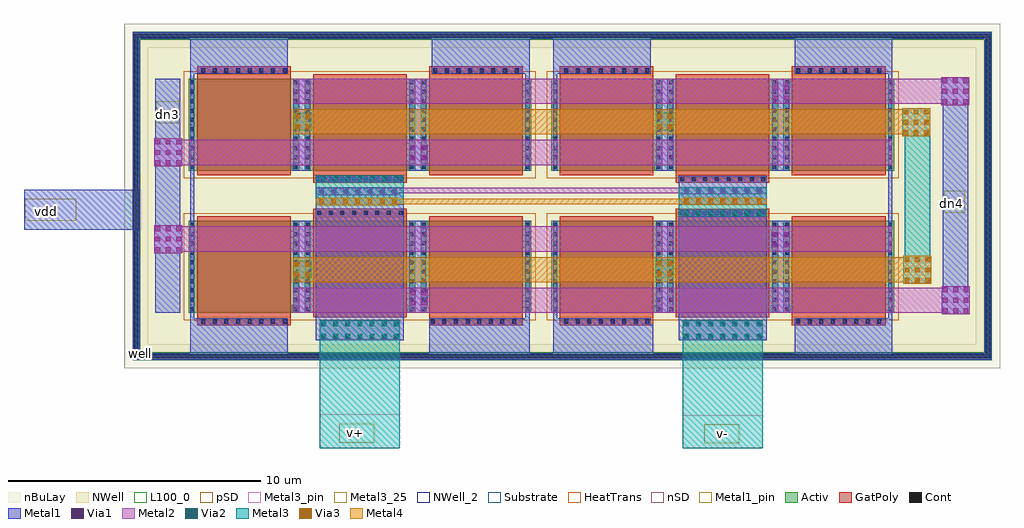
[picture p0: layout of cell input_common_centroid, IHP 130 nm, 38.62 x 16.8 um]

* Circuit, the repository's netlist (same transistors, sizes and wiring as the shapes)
* Extracted by KLayout with SG13G2 LVS runset on : 07/01/2025 13:14

.SUBCKT input_common_centroid v\x2d vdd v+ dn4 dn3
M$1 vdd vdd \$7 \$3 sg13_lv_pmos L=3.7u W=14.56u AS=4.9504p AD=4.9504p
+ PS=31.84u PD=31.84u
M$2 \$7 v+ dn4 \$3 sg13_lv_pmos L=3.7u W=7.28u AS=2.4752p AD=2.4752p PS=15.92u
+ PD=15.92u
M$3 dn4 vdd vdd \$3 sg13_lv_pmos L=3.7u W=7.28u AS=2.4752p AD=2.4752p PS=15.92u
+ PD=15.92u
M$5 \$7 v\x2d dn3 \$3 sg13_lv_pmos L=3.7u W=7.28u AS=2.4752p AD=2.4752p
+ PS=15.92u PD=15.92u
M$6 dn3 vdd vdd \$3 sg13_lv_pmos L=3.7u W=7.28u AS=2.4752p AD=2.4752p PS=15.92u
+ PD=15.92u
R$13 \$3 vdd ntap1 A=169.1692p P=241.12u
.ENDS input_common_centroid

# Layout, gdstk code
from math import pi, radians
import gdstk
lib = gdstk.Library(unit=1e-6, precision=1e-09)
def R(c, l, rs):  # rectangles x0, y0, x1, y1
    for r in rs: c.add(gdstk.rectangle(r[:2], r[2:], *l))
def A(c, l, x, y, w, h, nx, ny, dx, dy):  # array of equal rectangles
    R(c, l, [(x+i*dx, y+j*dy, x+i*dx+w, y+j*dy+h) for i in range(nx) for j in range(ny)])
def P(c, l, *ps):  # polygons
    for p in ps: c.add(gdstk.Polygon(p, *l))
Activ = (1, 0)
GatPoly = (5, 0)
Cont = (6, 0)
nSD = (7, 0)
Metal1 = (8, 0)
Metal1_pin = (8, 2)
Metal2 = (10, 0)
pSD = (14, 0)
Via1 = (19, 0)
Via2 = (29, 0)
Metal3 = (30, 0)
Metal3_pin = (30, 2)
Metal3_25 = (30, 25)
NWell = (31, 0)
NWell_2 = (31, 2)
nBuLay = (32, 0)
Substrate = (40, 0)
Via3 = (49, 0)
Metal4 = (50, 0)
HeatTrans = (51, 0)
L100_0 = (100, 0)

pmos = lib.new_cell('pmos')
R(pmos, Activ, [(0,0,0.3,0.3), (0,0,4.38,3.64), (4.08,0,4.38,0.3)])
R(pmos, GatPoly, [(0.34,-0.18,4.04,3.82), (0.34,-0.18,4.04,3.82)])
A(pmos, Cont, 0.07, 0.07, 0.16, 0.16, 1, 5, 0, 0.37)
A(pmos, Cont, 4.15, 0.07, 0.16, 0.16, 1, 5, 0, 0.37)
A(pmos, Cont, 0.07, 1.925, 0.16, 0.16, 1, 4, 0, 0.37)
A(pmos, Cont, 4.15, 1.925, 0.16, 0.16, 1, 4, 0, 0.37)
R(pmos, Cont, [(0.07,3.41,0.23,3.57), (4.15,3.41,4.31,3.57)])
R(pmos, Metal1, [(0.07,0,0.23,3.64), (0.07,0,0.23,3.64), (4.15,0,4.31,3.64), (4.15,0,4.31,3.64)])
R(pmos, pSD, [(-0.18,-0.3,4.56,3.94)])
R(pmos, NWell, [(-0.31,-0.31,4.69,3.95)])
R(pmos, Substrate, [(4.08,0,4.38,0.3)])
R(pmos, HeatTrans, [(0.34,-0.18,4.04,3.82)])
pmos.add(gdstk.Label('pmos', (2.19,1.82), layer=63, texttype=0))
pmos.add(gdstk.Label('pmos', (2.19,1.82), layer=51, texttype=0))

via_stack_11 = lib.new_cell('via_stack$11')
R(via_stack_11, Metal1, [(-1.585,-0.385,1.585,0.385)])
R(via_stack_11, Metal2, [(-1.585,-0.385,1.585,0.385)])
A(via_stack_11, Via1, -1.535, -0.335, 0.19, 0.19, 7, 2, 0.48, 0.48)
A(via_stack_11, Via2, -1.535, -0.335, 0.19, 0.19, 7, 2, 0.48, 0.48)
R(via_stack_11, Metal3, [(-1.585,-0.385,1.585,0.385)])

via_stack_1 = lib.new_cell('via_stack$1')
R(via_stack_1, Metal1, [(-1.585,-0.145,1.585,0.145)])
R(via_stack_1, Metal2, [(-1.585,-0.145,1.585,0.145)])
A(via_stack_1, Via1, -1.535, -0.095, 0.19, 0.19, 7, 1, 0.48, 0)
A(via_stack_1, Via2, -1.535, -0.095, 0.19, 0.19, 7, 1, 0.48, 0)
R(via_stack_1, Metal3, [(-1.585,-0.145,1.585,0.145)])

via_stack = lib.new_cell('via_stack')
R(via_stack, Metal1, [(-1.585,-0.145,1.585,0.145)])
R(via_stack, Metal2, [(-1.585,-0.145,1.585,0.145)])
A(via_stack, Via1, -1.535, -0.095, 0.19, 0.19, 7, 1, 0.48, 0)

via_stack_3 = lib.new_cell('via_stack$3')
R(via_stack_3, Metal3, [(-1.585,-0.145,1.585,0.145)])
A(via_stack_3, Via3, -1.535, -0.095, 0.19, 0.19, 7, 1, 0.48, 0)
R(via_stack_3, Metal4, [(-1.585,-0.145,1.585,0.145)])

via_stack_2 = lib.new_cell('via_stack$2')
R(via_stack_2, Metal1, [(-0.35,-0.35,0.35,0.35)])
R(via_stack_2, Metal2, [(-0.35,-0.35,0.35,0.35)])
R(via_stack_2, Via1, [(-0.3,-0.3,-0.11,-0.11), (0.11,-0.3,0.3,-0.11), (-0.3,0.11,-0.11,0.3), (0.11,0.11,0.3,0.3)])
R(via_stack_2, Via2, [(-0.3,-0.3,-0.11,-0.11), (0.11,-0.3,0.3,-0.11), (-0.3,0.11,-0.11,0.3), (0.11,0.11,0.3,0.3)])
R(via_stack_2, Metal3, [(-0.35,-0.35,0.35,0.35)])
R(via_stack_2, Via3, [(-0.3,-0.3,-0.11,-0.11), (0.11,-0.3,0.3,-0.11), (-0.3,0.11,-0.11,0.3), (0.11,0.11,0.3,0.3)])
R(via_stack_2, Metal4, [(-0.35,-0.35,0.35,0.35)])

via_stack_4 = lib.new_cell('via_stack$4')
R(via_stack_4, Metal1, [(-0.35,-0.35,0.35,0.35)])
R(via_stack_4, Metal2, [(-0.35,-0.35,0.35,0.35)])
R(via_stack_4, Via1, [(-0.3,-0.3,-0.11,-0.11), (0.11,-0.3,0.3,-0.11), (-0.3,0.11,-0.11,0.3), (0.11,0.11,0.3,0.3)])

via_stack_6 = lib.new_cell('via_stack$6')
R(via_stack_6, Metal3, [(-0.555,-0.555,0.555,0.555)])
A(via_stack_6, Via3, -0.505, -0.505, 0.19, 0.19, 3, 3, 0.41, 0.41)
R(via_stack_6, Metal4, [(-0.555,-0.555,0.555,0.555)])

via_stack_8 = lib.new_cell('via_stack$8')
R(via_stack_8, Metal1, [(-0.555,-0.555,0.555,0.555)])
R(via_stack_8, Metal2, [(-0.555,-0.555,0.555,0.555)])
A(via_stack_8, Via1, -0.505, -0.505, 0.19, 0.19, 3, 3, 0.41, 0.41)

gring = lib.new_cell('gring')
P(gring, Activ, [(0,0),(0,12.69),(0.31,12.69),(0.31,0.31),(33.69,0.31),(33.69,12.69),(0,12.69),(0,13),(34,13),(34,0)])
P(gring, Cont, [(0.075,0.075),(0.075,12.765),(0.235,12.765),(0.235,0.235),(33.765,0.235),(33.765,12.765),(0.075,12.765),(0.075,12.925),(33.925,12.925),(33.925,0.075)])
P(gring, nSD, [(0,0),(0,12.69),(0.31,12.69),(0.31,0.31),(33.69,0.31),(33.69,12.69),(0,12.69),(0,13),(34,13),(34,0)])
P(gring, Metal1, [(0.025,0.025),(0.025,12.715),(0.285,12.715),(0.285,0.285),(33.715,0.285),(33.715,12.715),(0.025,12.715),(0.025,12.975),(33.975,12.975),(33.975,0.025)])
R(gring, NWell, [(0,0,34,13)])

input_common_centroid = lib.new_cell('input_common_centroid')
R(input_common_centroid, GatPoly, [(24.205,13.49,27.905,13.79), (33.385,13.49,37.085,13.79), (38.56,13.49,42.26,13.79), (47.74,13.49,51.44,13.79), (28.795,17.79,32.495,18.09), (43.15,17.79,46.85,18.09), (28.795,19.12,32.495,19.42), (43.15,19.12,46.85,19.42), (24.205,23.42,27.905,23.72), (33.385,23.42,37.085,23.72), (38.56,23.42,42.26,23.72), (47.74,23.42,51.44,23.72)])
A(input_common_centroid, Cont, 24.365, 13.55, 0.16, 0.16, 8, 2, 0.46, 9.93)
A(input_common_centroid, Cont, 33.445, 13.55, 0.16, 0.16, 8, 1, 0.46, 0)
A(input_common_centroid, Cont, 38.72, 13.55, 0.16, 0.16, 8, 2, 0.46, 9.93)
A(input_common_centroid, Cont, 47.9, 13.55, 0.16, 0.16, 8, 2, 0.46, 9.93)
A(input_common_centroid, Cont, 28.955, 17.85, 0.16, 0.16, 8, 2, 0.46, 1.33)
A(input_common_centroid, Cont, 43.31, 17.85, 0.16, 0.16, 8, 2, 0.46, 1.33)
A(input_common_centroid, Cont, 33.545, 23.48, 0.16, 0.16, 8, 1, 0.46, 0)
R(input_common_centroid, Cont, [(21.65,17.265,21.96,18.84)])
R(input_common_centroid, Metal1, [(21.675,12.12,21.935,25.07), (21.935,12.12,55.625,12.38), (23.935,12.38,27.795,13.5), (33.395,12.38,37.355,13.5), (38.29,12.38,42.25,13.5), (47.85,12.38,51.71,13.5), (55.365,12.38,55.625,25.07), (28.905,12.885,32.385,17.8), (43.26,12.885,46.74,17.8), (23.935,13.5,24.095,13.97), (24.095,13.5,27.795,13.76), (33.395,13.5,37.195,13.76), (37.195,13.5,37.355,13.97), (38.29,13.5,38.45,13.97), (38.45,13.5,42.15,13.76), (47.85,13.5,51.55,13.76), (51.55,13.5,51.71,13.97), (22.545,13.97,23.545,23.24), (28.015,13.97,28.525,17.61), (32.605,13.97,33.275,17.61), (42.53,13.97,42.88,17.61), (47.12,13.97,47.47,17.61), (53.71,13.97,54.71,23.24), (17.355,17.265,21.96,18.84), (23.935,17.61,24.095,19.6), (51.55,17.61,51.71,19.6), (28.905,17.8,32.385,18.95), (28.905,17.8,32.385,18.06), (43.26,17.8,46.74,18.06), (43.26,18.24,46.74,19.39), (28.905,19.13,32.385,19.39), (43.26,19.13,46.74,19.39), (28.175,19.6,28.525,23.24), (32.765,19.6,33.115,23.24), (42.53,19.6,42.88,23.24), (47.12,19.6,47.47,23.24), (23.935,23.24,24.095,23.69), (37.195,23.24,37.355,23.69), (38.29,23.24,38.45,23.69), (51.55,23.24,51.71,23.69), (24.095,23.43,27.795,23.69), (33.495,23.43,37.195,23.69), (38.45,23.43,42.15,23.69), (47.85,23.43,51.55,23.69), (23.935,23.69,27.795,24.81), (33.495,23.69,37.355,24.81), (38.29,23.69,42.15,24.81), (47.85,23.69,51.71,24.81), (21.935,24.81,55.365,25.07)])
R(input_common_centroid, Metal1_pin, [(17.41,17.615,19.42,18.485), (53.76,17.93,54.58,18.8), (22.585,21.47,23.495,22.34)])
R(input_common_centroid, Metal2, [(28.015,13.97,54.71,14.97), (22.545,16.39,51.71,17.39), (28.905,18.7,46.74,18.92), (22.545,19.82,51.71,20.82), (28.015,22.24,54.71,23.24)])
R(input_common_centroid, Metal3, [(29.06,8.61,32.23,12.905), (43.415,8.61,46.585,12.905), (52.21,15.18,53.21,22.03), (43.26,17.8,46.74,18.95), (28.905,18.24,32.385,19.42)])
R(input_common_centroid, Metal3_pin, [(29.06,8.61,32.23,9.965), (43.415,8.61,46.585,9.93), (43.415,8.61,46.585,9.93), (43.415,8.61,46.585,9.93), (43.415,8.61,46.585,9.93)])
R(input_common_centroid, Metal3_25, [(44.265,8.815,45.65,9.565), (44.265,8.815,45.65,9.565), (44.265,8.815,45.65,9.565), (44.265,8.815,45.65,9.565), (29.835,8.83,31.22,9.58)])
R(input_common_centroid, NWell_2, [(47.845,12.095,51.71,12.385)])
R(input_common_centroid, nBuLay, [(21.33,11.775,55.97,12.725), (21.33,11.775,22.28,25.415), (55.02,11.775,55.97,25.415), (21.33,24.465,55.97,25.415)])
R(input_common_centroid, Metal4, [(28.015,15.18,53.21,16.18), (28.905,18.27,46.74,18.49), (28.015,21.03,53.21,22.03)])
R(input_common_centroid, L100_0, [(23.934,14.039,24.096,14.201), (23.934,14.039,24.096,14.201), (28.014,14.039,28.176,14.201), (28.014,14.039,28.176,14.201), (28.524,14.039,28.686,14.201), (28.524,14.039,28.686,14.201), (32.604,14.039,32.766,14.201), (32.604,14.039,32.766,14.201), (33.114,14.039,33.276,14.201), (33.114,14.039,33.276,14.201), (37.194,14.039,37.356,14.201), (37.194,14.039,37.356,14.201), (38.289,14.039,38.451,14.201), (38.289,14.039,38.451,14.201), (42.369,14.039,42.531,14.201), (42.369,14.039,42.531,14.201), (42.879,14.039,43.041,14.201), (42.879,14.039,43.041,14.201), (46.959,14.039,47.121,14.201), (46.959,14.039,47.121,14.201), (47.469,14.039,47.631,14.201), (47.469,14.039,47.631,14.201), (51.549,14.039,51.711,14.201), (51.549,14.039,51.711,14.201), (23.934,14.409,24.096,14.571), (23.934,14.409,24.096,14.571), (28.014,14.409,28.176,14.571), (28.014,14.409,28.176,14.571), (28.524,14.409,28.686,14.571), (28.524,14.409,28.686,14.571), (32.604,14.409,32.766,14.571), (32.604,14.409,32.766,14.571), (38.289,14.409,38.451,14.571), (38.289,14.409,38.451,14.571), (42.369,14.409,42.531,14.571), (42.369,14.409,42.531,14.571), (42.879,14.409,43.041,14.571), (42.879,14.409,43.041,14.571), (46.959,14.409,47.121,14.571), (46.959,14.409,47.121,14.571), (47.469,14.409,47.631,14.571), (47.469,14.409,47.631,14.571), (51.549,14.409,51.711,14.571), (51.549,14.409,51.711,14.571), (33.114,14.414,33.276,14.576), (33.114,14.414,33.276,14.576), (37.194,14.414,37.356,14.576), (37.194,14.414,37.356,14.576), (23.934,14.779,24.096,14.941), (23.934,14.779,24.096,14.941), (28.014,14.779,28.176,14.941), (28.014,14.779,28.176,14.941), (28.524,14.779,28.686,14.941), (28.524,14.779,28.686,14.941), (32.604,14.779,32.766,14.941), (32.604,14.779,32.766,14.941), (38.289,14.779,38.451,14.941), (38.289,14.779,38.451,14.941), (42.369,14.779,42.531,14.941), (42.369,14.779,42.531,14.941), (42.879,14.779,43.041,14.941), (42.879,14.779,43.041,14.941), (46.959,14.779,47.121,14.941), (46.959,14.779,47.121,14.941), (47.469,14.779,47.631,14.941), (47.469,14.779,47.631,14.941), (51.549,14.779,51.711,14.941), (51.549,14.779,51.711,14.941), (33.114,14.784,33.276,14.946), (33.114,14.784,33.276,14.946), (37.194,14.784,37.356,14.946), (37.194,14.784,37.356,14.946), (23.934,15.149,24.096,15.311), (23.934,15.149,24.096,15.311), (28.014,15.149,28.176,15.311), (28.014,15.149,28.176,15.311), (28.524,15.149,28.686,15.311), (28.524,15.149,28.686,15.311), (32.604,15.149,32.766,15.311), (32.604,15.149,32.766,15.311), (38.289,15.149,38.451,15.311), (38.289,15.149,38.451,15.311), (42.369,15.149,42.531,15.311), (42.369,15.149,42.531,15.311), (42.879,15.149,43.041,15.311), (42.879,15.149,43.041,15.311), (46.959,15.149,47.121,15.311), (46.959,15.149,47.121,15.311), (47.469,15.149,47.631,15.311), (47.469,15.149,47.631,15.311), (51.549,15.149,51.711,15.311), (51.549,15.149,51.711,15.311), (33.114,15.154,33.276,15.316), (33.114,15.154,33.276,15.316), (37.194,15.154,37.356,15.316), (37.194,15.154,37.356,15.316), (23.934,15.519,24.096,15.681), (23.934,15.519,24.096,15.681), (28.014,15.519,28.176,15.681), (28.014,15.519,28.176,15.681), (28.524,15.519,28.686,15.681), (28.524,15.519,28.686,15.681), (32.604,15.519,32.766,15.681), (32.604,15.519,32.766,15.681), (38.289,15.519,38.451,15.681), (38.289,15.519,38.451,15.681), (42.369,15.519,42.531,15.681), (42.369,15.519,42.531,15.681), (42.879,15.519,43.041,15.681), (42.879,15.519,43.041,15.681), (46.959,15.519,47.121,15.681), (46.959,15.519,47.121,15.681), (47.469,15.519,47.631,15.681), (47.469,15.519,47.631,15.681), (51.549,15.519,51.711,15.681), (51.549,15.519,51.711,15.681), (33.114,15.524,33.276,15.686), (33.114,15.524,33.276,15.686), (37.194,15.524,37.356,15.686), (37.194,15.524,37.356,15.686), (23.934,15.894,24.096,16.056), (23.934,15.894,24.096,16.056), (28.014,15.894,28.176,16.056), (28.014,15.894,28.176,16.056), (28.524,15.894,28.686,16.056), (28.524,15.894,28.686,16.056), (32.604,15.894,32.766,16.056), (32.604,15.894,32.766,16.056), (38.289,15.894,38.451,16.056), (38.289,15.894,38.451,16.056), (42.369,15.894,42.531,16.056), (42.369,15.894,42.531,16.056), (42.879,15.894,43.041,16.056), (42.879,15.894,43.041,16.056), (46.959,15.894,47.121,16.056), (46.959,15.894,47.121,16.056), (47.469,15.894,47.631,16.056), (47.469,15.894,47.631,16.056), (51.549,15.894,51.711,16.056), (51.549,15.894,51.711,16.056), (33.114,15.899,33.276,16.061), (33.114,15.899,33.276,16.061), (37.194,15.899,37.356,16.061), (37.194,15.899,37.356,16.061), (23.934,16.264,24.096,16.426), (23.934,16.264,24.096,16.426), (28.014,16.264,28.176,16.426), (28.014,16.264,28.176,16.426), (28.524,16.264,28.686,16.426), (28.524,16.264,28.686,16.426), (32.604,16.264,32.766,16.426), (32.604,16.264,32.766,16.426), (38.289,16.264,38.451,16.426), (38.289,16.264,38.451,16.426), (42.369,16.264,42.531,16.426), (42.369,16.264,42.531,16.426), (42.879,16.264,43.041,16.426), (42.879,16.264,43.041,16.426), (46.959,16.264,47.121,16.426), (46.959,16.264,47.121,16.426), (47.469,16.264,47.631,16.426), (47.469,16.264,47.631,16.426), (51.549,16.264,51.711,16.426), (51.549,16.264,51.711,16.426), (33.114,16.269,33.276,16.431), (33.114,16.269,33.276,16.431), (37.194,16.269,37.356,16.431), (37.194,16.269,37.356,16.431), (23.934,16.634,24.096,16.796), (23.934,16.634,24.096,16.796), (28.014,16.634,28.176,16.796), (28.014,16.634,28.176,16.796), (28.524,16.634,28.686,16.796), (28.524,16.634,28.686,16.796), (32.604,16.634,32.766,16.796), (32.604,16.634,32.766,16.796), (38.289,16.634,38.451,16.796), (38.289,16.634,38.451,16.796), (42.369,16.634,42.531,16.796), (42.369,16.634,42.531,16.796), (42.879,16.634,43.041,16.796), (42.879,16.634,43.041,16.796), (46.959,16.634,47.121,16.796), (46.959,16.634,47.121,16.796), (47.469,16.634,47.631,16.796), (47.469,16.634,47.631,16.796), (51.549,16.634,51.711,16.796), (51.549,16.634,51.711,16.796), (33.114,16.639,33.276,16.801), (33.114,16.639,33.276,16.801), (37.194,16.639,37.356,16.801), (37.194,16.639,37.356,16.801), (23.934,17.004,24.096,17.166), (23.934,17.004,24.096,17.166), (28.014,17.004,28.176,17.166), (28.014,17.004,28.176,17.166), (28.524,17.004,28.686,17.166), (28.524,17.004,28.686,17.166), (32.604,17.004,32.766,17.166), (32.604,17.004,32.766,17.166), (38.289,17.004,38.451,17.166), (38.289,17.004,38.451,17.166), (42.369,17.004,42.531,17.166), (42.369,17.004,42.531,17.166), (42.879,17.004,43.041,17.166), (42.879,17.004,43.041,17.166), (46.959,17.004,47.121,17.166), (46.959,17.004,47.121,17.166), (47.469,17.004,47.631,17.166), (47.469,17.004,47.631,17.166), (51.549,17.004,51.711,17.166), (51.549,17.004,51.711,17.166), (33.114,17.009,33.276,17.171), (33.114,17.009,33.276,17.171), (37.194,17.009,37.356,17.171), (37.194,17.009,37.356,17.171), (23.934,17.379,24.096,17.541), (23.934,17.379,24.096,17.541), (28.014,17.379,28.176,17.541), (28.014,17.379,28.176,17.541), (28.524,17.379,28.686,17.541), (28.524,17.379,28.686,17.541), (32.604,17.379,32.766,17.541), (32.604,17.379,32.766,17.541), (33.114,17.379,33.276,17.541), (33.114,17.379,33.276,17.541), (37.194,17.379,37.356,17.541), (37.194,17.379,37.356,17.541), (38.289,17.379,38.451,17.541), (38.289,17.379,38.451,17.541), (42.369,17.379,42.531,17.541), (42.369,17.379,42.531,17.541), (42.879,17.379,43.041,17.541), (42.879,17.379,43.041,17.541), (46.959,17.379,47.121,17.541), (46.959,17.379,47.121,17.541), (47.469,17.379,47.631,17.541), (47.469,17.379,47.631,17.541), (51.549,17.379,51.711,17.541), (51.549,17.379,51.711,17.541), (23.934,19.669,24.096,19.831), (23.934,19.669,24.096,19.831), (28.014,19.669,28.176,19.831), (28.014,19.669,28.176,19.831), (28.524,19.669,28.686,19.831), (28.524,19.669,28.686,19.831), (32.604,19.669,32.766,19.831), (32.604,19.669,32.766,19.831), (33.114,19.669,33.276,19.831), (33.114,19.669,33.276,19.831), (37.194,19.669,37.356,19.831), (37.194,19.669,37.356,19.831), (38.289,19.669,38.451,19.831), (38.289,19.669,38.451,19.831), (42.369,19.669,42.531,19.831), (42.369,19.669,42.531,19.831), (42.879,19.669,43.041,19.831), (42.879,19.669,43.041,19.831), (46.959,19.669,47.121,19.831), (46.959,19.669,47.121,19.831), (47.469,19.669,47.631,19.831), (47.469,19.669,47.631,19.831), (51.549,19.669,51.711,19.831), (51.549,19.669,51.711,19.831), (23.934,20.039,24.096,20.201), (23.934,20.039,24.096,20.201), (28.014,20.039,28.176,20.201), (28.014,20.039,28.176,20.201), (28.524,20.039,28.686,20.201), (28.524,20.039,28.686,20.201), (32.604,20.039,32.766,20.201), (32.604,20.039,32.766,20.201), (33.114,20.039,33.276,20.201), (33.114,20.039,33.276,20.201), (37.194,20.039,37.356,20.201), (37.194,20.039,37.356,20.201), (38.289,20.039,38.451,20.201), (38.289,20.039,38.451,20.201), (42.369,20.039,42.531,20.201), (42.369,20.039,42.531,20.201), (42.879,20.039,43.041,20.201), (42.879,20.039,43.041,20.201), (46.959,20.039,47.121,20.201), (46.959,20.039,47.121,20.201), (47.469,20.044,47.631,20.206), (47.469,20.044,47.631,20.206), (51.549,20.044,51.711,20.206), (51.549,20.044,51.711,20.206), (23.934,20.409,24.096,20.571), (23.934,20.409,24.096,20.571), (28.014,20.409,28.176,20.571), (28.014,20.409,28.176,20.571), (28.524,20.409,28.686,20.571), (28.524,20.409,28.686,20.571), (32.604,20.409,32.766,20.571), (32.604,20.409,32.766,20.571), (33.114,20.409,33.276,20.571), (33.114,20.409,33.276,20.571), (37.194,20.409,37.356,20.571), (37.194,20.409,37.356,20.571), (38.289,20.409,38.451,20.571), (38.289,20.409,38.451,20.571), (42.369,20.409,42.531,20.571), (42.369,20.409,42.531,20.571), (42.879,20.409,43.041,20.571), (42.879,20.409,43.041,20.571), (46.959,20.409,47.121,20.571), (46.959,20.409,47.121,20.571), (47.469,20.414,47.631,20.576), (47.469,20.414,47.631,20.576), (51.549,20.414,51.711,20.576), (51.549,20.414,51.711,20.576), (23.934,20.779,24.096,20.941), (23.934,20.779,24.096,20.941), (28.014,20.779,28.176,20.941), (28.014,20.779,28.176,20.941), (28.524,20.779,28.686,20.941), (28.524,20.779,28.686,20.941), (32.604,20.779,32.766,20.941), (32.604,20.779,32.766,20.941), (33.114,20.779,33.276,20.941), (33.114,20.779,33.276,20.941), (37.194,20.779,37.356,20.941), (37.194,20.779,37.356,20.941), (38.289,20.779,38.451,20.941), (38.289,20.779,38.451,20.941), (42.369,20.779,42.531,20.941), (42.369,20.779,42.531,20.941), (42.879,20.779,43.041,20.941), (42.879,20.779,43.041,20.941), (46.959,20.779,47.121,20.941), (46.959,20.779,47.121,20.941), (47.469,20.784,47.631,20.946), (47.469,20.784,47.631,20.946), (51.549,20.784,51.711,20.946), (51.549,20.784,51.711,20.946), (23.934,21.149,24.096,21.311), (23.934,21.149,24.096,21.311), (28.014,21.149,28.176,21.311), (28.014,21.149,28.176,21.311), (28.524,21.149,28.686,21.311), (28.524,21.149,28.686,21.311), (32.604,21.149,32.766,21.311), (32.604,21.149,32.766,21.311), (33.114,21.149,33.276,21.311), (33.114,21.149,33.276,21.311), (37.194,21.149,37.356,21.311), (37.194,21.149,37.356,21.311), (38.289,21.149,38.451,21.311), (38.289,21.149,38.451,21.311), (42.369,21.149,42.531,21.311), (42.369,21.149,42.531,21.311), (42.879,21.149,43.041,21.311), (42.879,21.149,43.041,21.311), (46.959,21.149,47.121,21.311), (46.959,21.149,47.121,21.311), (47.469,21.154,47.631,21.316), (47.469,21.154,47.631,21.316), (51.549,21.154,51.711,21.316), (51.549,21.154,51.711,21.316), (23.934,21.524,24.096,21.686), (23.934,21.524,24.096,21.686), (28.014,21.524,28.176,21.686), (28.014,21.524,28.176,21.686), (28.524,21.524,28.686,21.686), (28.524,21.524,28.686,21.686), (32.604,21.524,32.766,21.686), (32.604,21.524,32.766,21.686), (33.114,21.524,33.276,21.686), (33.114,21.524,33.276,21.686), (37.194,21.524,37.356,21.686), (37.194,21.524,37.356,21.686), (38.289,21.524,38.451,21.686), (38.289,21.524,38.451,21.686), (42.369,21.524,42.531,21.686), (42.369,21.524,42.531,21.686), (42.879,21.524,43.041,21.686), (42.879,21.524,43.041,21.686), (46.959,21.524,47.121,21.686), (46.959,21.524,47.121,21.686), (47.469,21.529,47.631,21.691), (47.469,21.529,47.631,21.691), (51.549,21.529,51.711,21.691), (51.549,21.529,51.711,21.691), (23.934,21.894,24.096,22.056), (23.934,21.894,24.096,22.056), (28.014,21.894,28.176,22.056), (28.014,21.894,28.176,22.056), (28.524,21.894,28.686,22.056), (28.524,21.894,28.686,22.056), (32.604,21.894,32.766,22.056), (32.604,21.894,32.766,22.056), (33.114,21.894,33.276,22.056), (33.114,21.894,33.276,22.056), (37.194,21.894,37.356,22.056), (37.194,21.894,37.356,22.056), (38.289,21.894,38.451,22.056), (38.289,21.894,38.451,22.056), (42.369,21.894,42.531,22.056), (42.369,21.894,42.531,22.056), (42.879,21.894,43.041,22.056), (42.879,21.894,43.041,22.056), (46.959,21.894,47.121,22.056), (46.959,21.894,47.121,22.056), (47.469,21.899,47.631,22.061), (47.469,21.899,47.631,22.061), (51.549,21.899,51.711,22.061), (51.549,21.899,51.711,22.061), (23.934,22.264,24.096,22.426), (23.934,22.264,24.096,22.426), (28.014,22.264,28.176,22.426), (28.014,22.264,28.176,22.426), (28.524,22.264,28.686,22.426), (28.524,22.264,28.686,22.426), (32.604,22.264,32.766,22.426), (32.604,22.264,32.766,22.426), (33.114,22.264,33.276,22.426), (33.114,22.264,33.276,22.426), (37.194,22.264,37.356,22.426), (37.194,22.264,37.356,22.426), (38.289,22.264,38.451,22.426), (38.289,22.264,38.451,22.426), (42.369,22.264,42.531,22.426), (42.369,22.264,42.531,22.426), (42.879,22.264,43.041,22.426), (42.879,22.264,43.041,22.426), (46.959,22.264,47.121,22.426), (46.959,22.264,47.121,22.426), (47.469,22.269,47.631,22.431), (47.469,22.269,47.631,22.431), (51.549,22.269,51.711,22.431), (51.549,22.269,51.711,22.431), (23.934,22.634,24.096,22.796), (23.934,22.634,24.096,22.796), (28.014,22.634,28.176,22.796), (28.014,22.634,28.176,22.796), (28.524,22.634,28.686,22.796), (28.524,22.634,28.686,22.796), (32.604,22.634,32.766,22.796), (32.604,22.634,32.766,22.796), (33.114,22.634,33.276,22.796), (33.114,22.634,33.276,22.796), (37.194,22.634,37.356,22.796), (37.194,22.634,37.356,22.796), (38.289,22.634,38.451,22.796), (38.289,22.634,38.451,22.796), (42.369,22.634,42.531,22.796), (42.369,22.634,42.531,22.796), (42.879,22.634,43.041,22.796), (42.879,22.634,43.041,22.796), (46.959,22.634,47.121,22.796), (46.959,22.634,47.121,22.796), (47.469,22.639,47.631,22.801), (47.469,22.639,47.631,22.801), (51.549,22.639,51.711,22.801), (51.549,22.639,51.711,22.801), (23.934,23.009,24.096,23.171), (23.934,23.009,24.096,23.171), (28.014,23.009,28.176,23.171), (28.014,23.009,28.176,23.171), (28.524,23.009,28.686,23.171), (28.524,23.009,28.686,23.171), (32.604,23.009,32.766,23.171), (32.604,23.009,32.766,23.171), (33.114,23.009,33.276,23.171), (33.114,23.009,33.276,23.171), (37.194,23.009,37.356,23.171), (37.194,23.009,37.356,23.171), (38.289,23.009,38.451,23.171), (38.289,23.009,38.451,23.171), (42.369,23.009,42.531,23.171), (42.369,23.009,42.531,23.171), (42.879,23.009,43.041,23.171), (42.879,23.009,43.041,23.171), (46.959,23.009,47.121,23.171), (46.959,23.009,47.121,23.171), (47.469,23.009,47.631,23.171), (47.469,23.009,47.631,23.171), (51.549,23.009,51.711,23.171), (51.549,23.009,51.711,23.171)])
P(input_common_centroid, L100_0, [(21.884,24.859),(21.724,25.021),(55.576,25.021),(55.416,24.859)],
  [(55.576,12.169),(55.414,12.329),(55.414,24.861),(55.576,25.021)],
  [(21.724,12.169),(21.884,12.331),(55.416,12.331),(55.576,12.169)],
  [(21.724,19.504),(21.724,25.021),(21.886,24.861),(21.886,19.504)],
  [(21.961,19.419),(21.724,19.504),(21.724,19.591),(21.961,19.506)],
  [(21.649,19.419),(21.649,19.506),(21.886,19.591),(21.886,19.504)],
  [(21.724,12.169),(21.724,16.196),(21.886,16.196),(21.886,12.329)],
  [(21.886,16.109),(21.649,16.194),(21.649,16.281),(21.886,16.196)],
  [(21.724,16.109),(21.724,16.196),(21.961,16.281),(21.961,16.194)])
input_common_centroid.add(gdstk.Reference(pmos, (23.865,13.97)))
input_common_centroid.add(gdstk.Reference(pmos, (28.455,13.97)))
input_common_centroid.add(gdstk.Reference(pmos, (28.455,13.97)))
input_common_centroid.add(gdstk.Reference(pmos, (38.22,13.97)))
input_common_centroid.add(gdstk.Reference(pmos, (42.81,13.97)))
input_common_centroid.add(gdstk.Reference(pmos, (38.22,13.97)))
input_common_centroid.add(gdstk.Reference(via_stack_11, (30.645,13.29)))
input_common_centroid.add(gdstk.Reference(pmos, (37.425,19.6), rotation=pi, x_reflection=True))
input_common_centroid.add(gdstk.Reference(via_stack_1, (30.645,19.275)))
input_common_centroid.add(gdstk.Reference(pmos, (42.81,19.6)))
input_common_centroid.add(gdstk.Reference(pmos, (38.22,19.6)))
input_common_centroid.add(gdstk.Reference(pmos, (42.81,19.6)))
input_common_centroid.add(gdstk.Reference(pmos, (38.22,19.6)))
input_common_centroid.add(gdstk.Reference(pmos, (28.455,19.6)))
input_common_centroid.add(gdstk.Reference(pmos, (23.865,19.6)))
input_common_centroid.add(gdstk.Reference(pmos, (28.455,19.6)))
input_common_centroid.add(gdstk.Reference(pmos, (23.865,19.6)))
input_common_centroid.add(gdstk.Reference(via_stack, (30.565,18.775)))
input_common_centroid.add(gdstk.Reference(via_stack, (45.005,18.805)))
input_common_centroid.add(gdstk.Reference(via_stack_3, (30.565,18.375)))
input_common_centroid.add(gdstk.Reference(via_stack_3, (45,18.385)))
input_common_centroid.add(gdstk.Reference(via_stack_2, (28.365,15.69)))
input_common_centroid.add(gdstk.Reference(via_stack_4, (32.95,20.305)))
input_common_centroid.add(gdstk.Reference(via_stack_6, (52.65,21.51)))
input_common_centroid.add(gdstk.Reference(via_stack_2, (28.39,21.54)))
input_common_centroid.add(gdstk.Reference(via_stack_8, (54.215,14.47)))
input_common_centroid.add(gdstk.Reference(via_stack_6, (52.7,15.67)))
input_common_centroid.add(gdstk.Reference(via_stack_8, (54.2,22.74)))
input_common_centroid.add(gdstk.Reference(via_stack_4, (47.295,16.86)))
input_common_centroid.add(gdstk.Reference(via_stack_4, (47.31,22.675)))
input_common_centroid.add(gdstk.Reference(via_stack_2, (42.7,15.72)))
input_common_centroid.add(gdstk.Reference(via_stack_2, (42.715,21.545)))
input_common_centroid.add(gdstk.Reference(via_stack_8, (23.06,16.89)))
input_common_centroid.add(gdstk.Reference(via_stack_8, (23.055,20.32)))
input_common_centroid.add(gdstk.Reference(via_stack_1, (45.005,17.915)))
input_common_centroid.add(gdstk.Reference(via_stack_11, (45,13.29)))
input_common_centroid.add(gdstk.Reference(pmos, (51.78,23.24), rotation=pi))
input_common_centroid.add(gdstk.Reference(pmos, (37.425,17.61), rotation=pi))
input_common_centroid.add(gdstk.Reference(via_stack_4, (32.955,14.565)))
input_common_centroid.add(gdstk.Reference(pmos, (51.78,13.97), rotation=pi, x_reflection=True))
input_common_centroid.add(gdstk.Reference(gring, (21.65,12.095)))
input_common_centroid.add(gdstk.Label('well', (21.98,12.38), layer=63, texttype=0))
input_common_centroid.add(gdstk.Label('v-', (44.995,9.215), layer=30, texttype=25))
input_common_centroid.add(gdstk.Label('v-', (44.995,9.215), layer=30, texttype=25))
input_common_centroid.add(gdstk.Label('v-', (44.995,9.215), layer=30, texttype=25))
input_common_centroid.add(gdstk.Label('v+', (30.47,9.24), layer=30, texttype=25))
input_common_centroid.add(gdstk.Label('v-', (44.995,9.215), layer=30, texttype=25))
input_common_centroid.add(gdstk.Label('vdd', (18.24,17.975), layer=8, texttype=25))
input_common_centroid.add(gdstk.Label('dn3', (23.015,21.83), layer=8, texttype=25))
input_common_centroid.add(gdstk.Label('dn4', (54.065,18.29), layer=8, texttype=25))

lib.write_gds('input_common_centroid.gds')
